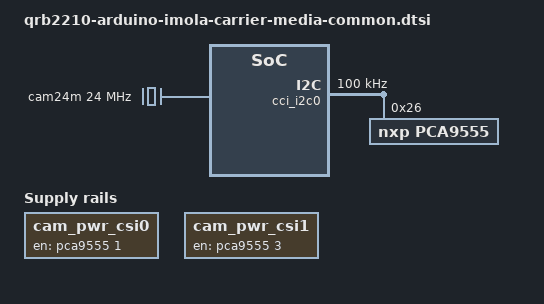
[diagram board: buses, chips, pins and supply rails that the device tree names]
// SPDX-License-Identifier: (GPL-2.0+ OR BSD-3-Clause)
/*
 */

#include <dt-bindings/gpio/gpio.h>

&{/} {
	cam_pwr_csi0: cam-pwr-csi0 {
		compatible = "regulator-fixed";
		regulator-name = "cam-pwr";
		startup-delay-us = <100000>;
		gpio = <&pca9555 1 GPIO_ACTIVE_HIGH>;
		enable-active-high;
	};

	cam_pwr_csi1: cam-pwr-csi1 {
		compatible = "regulator-fixed";
		regulator-name = "cam-pwr";
		startup-delay-us = <100000>;
		gpio = <&pca9555 3 GPIO_ACTIVE_HIGH>;
		enable-active-high;
	};

	clocks {
		cam24m: cam-clk {
			compatible = "fixed-clock";
			#clock-cells = <0>;
			clock-frequency = <24000000>;
			clock-output-names = "cam24m";
		};
	};
};

&cci_i2c0 {
	clock-frequency = <100000>;
	#address-cells = <1>;
	#size-cells = <0>;

	pca9555: gpio@26 {
		compatible = "nxp,pca9555";
		reg = <0x26>;
		gpio-controller;
		#gpio-cells = <2>;
	};
};
